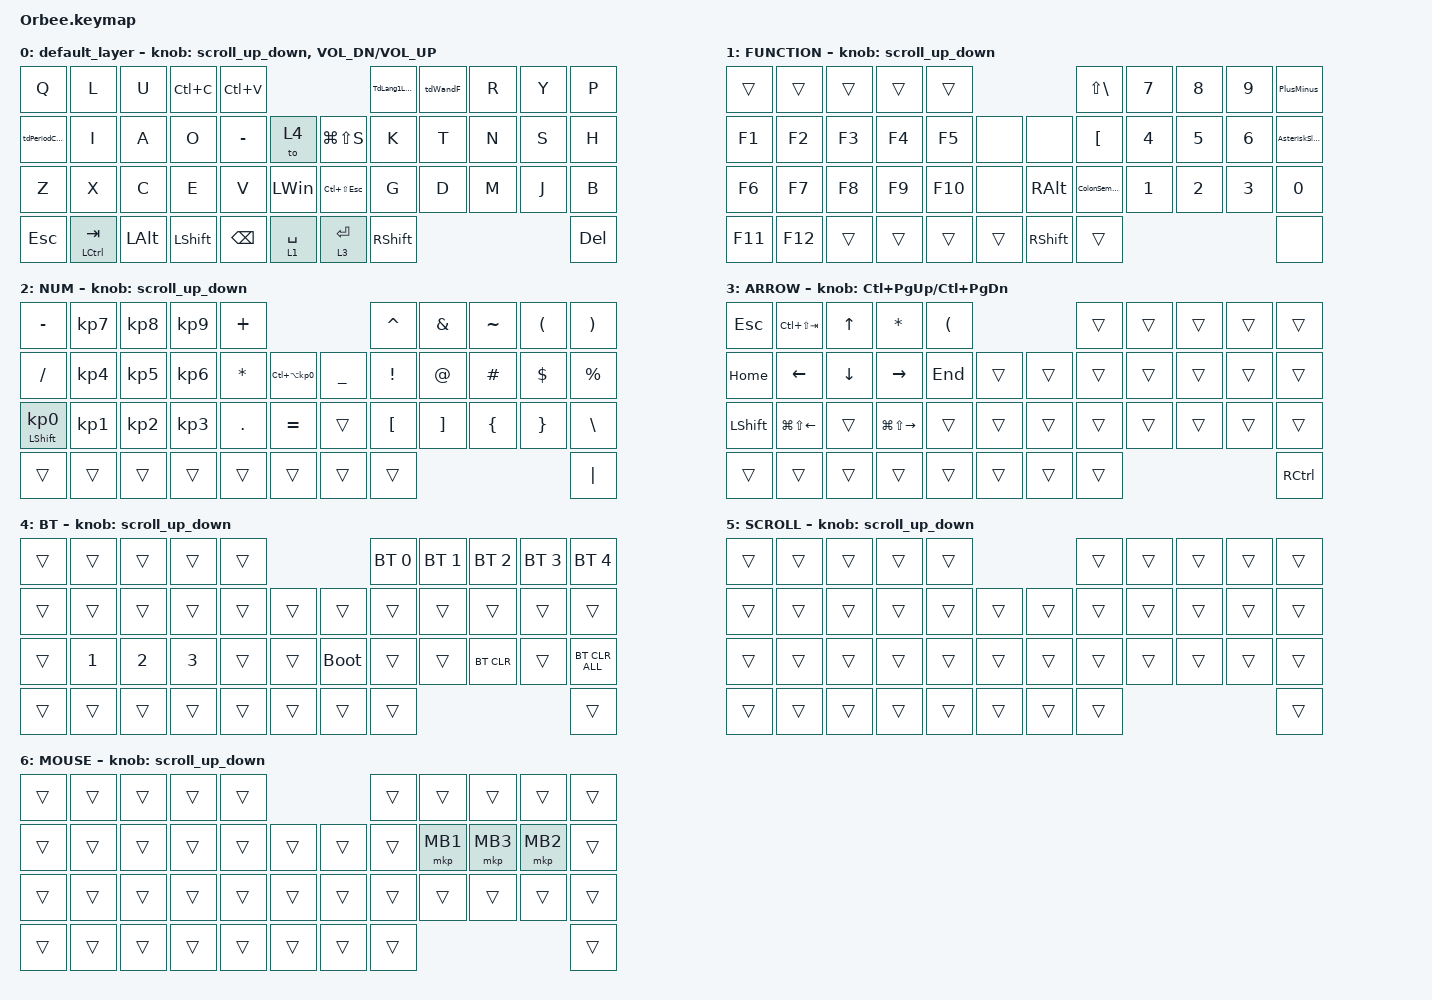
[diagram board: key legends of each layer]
#include <behaviors.dtsi>
#include <dt-bindings/zmk/bt.h>
#include <dt-bindings/zmk/keys.h>
#include <dt-bindings/zmk/pointing.h>

&mt {
    flavor = "balanced";
    quick-tap-ms = <0>;
};

/ {
    combos {
        compatible = "zmk,combos";

        Alt_tab {
            bindings = <&kp LA(TAB)>;
            key-positions = <12 13>;
        };

        Ctrl_Z {
            bindings = <&kp LC(Z)>;
            key-positions = <12 11>;
        };

        Ctrl_P {
            bindings = <&kp LC(P)>;
            key-positions = <14 13>;
        };
    };

    macros {
        to_layer_0: to_layer_0 {
            compatible = "zmk,behavior-macro-one-param";
            #binding-cells = <1>;
            bindings = <&kp LEFT_WIN &macro_param_1to1 &kp MACRO_PLACEHOLDER>;
            label = "TO_LAYER_0";
        };
    };

    behaviors {
        scroll_up_down: behavior_sensor_rotate_mouse_wheel_up_down {
            compatible = "zmk,behavior-sensor-rotate";
            #sensor-binding-cells = <0>;
            bindings = <&msc SCRL_UP>, <&msc SCRL_DOWN>;
            tap-ms = <20>;
        };

        tdPeriodComma: tdPeriodComma {
            compatible = "zmk,behavior-tap-dance";
            label = "TDPERIODCOMMA";
            #binding-cells = <0>;
            bindings = <&kp COMMA>, <&kp PERIOD>;
        };

        tdWandF: tdWandF {
            compatible = "zmk,behavior-tap-dance";
            label = "TDWANDF";
            #binding-cells = <0>;
            bindings = <&kp W>, <&kp F>;
            tapping-term-ms = <150>;
        };

        PlusMinus: PlusMinus {
            compatible = "zmk,behavior-tap-dance";
            label = "PLUSMINUS";
            #binding-cells = <0>;
            bindings = <&kp LS(SEMI)>, <&kp MINUS>;
            tapping-term-ms = <200>;
        };

        AsteriskSlash: AsteriskSlash {
            compatible = "zmk,behavior-tap-dance";
            label = "ASTERISKSLASH";
            #binding-cells = <0>;
            tapping-term-ms = <200>;
            bindings = <&kp LS(SINGLE_QUOTE)>, <&kp SLASH>;
        };

        ColonSemicolon: ColonSemicolon {
            compatible = "zmk,behavior-tap-dance";
            label = "COLONSEMICOLON";
            #binding-cells = <0>;
            tapping-term-ms = <200>;
            bindings = <&kp APOS>, <&kp SEMI>;
        };

        TdLang1Lang2: TdLang1Lang2 {
            compatible = "zmk,behavior-tap-dance";
            label = "TDLANG1LANG2";
            #binding-cells = <0>;
            bindings = <&kp LANGUAGE_1>, <&kp LANG2>;
        };
    };

    keymap {
        compatible = "zmk,keymap";

        default_layer {
            bindings = <
&kp Q           &kp L          &kp U         &kp LC(C)       &kp LC(V)                                            &TdLang1Lang2  &tdWandF  &kp R  &kp Y  &kp P
&tdPeriodComma  &kp I          &kp A         &kp O           &kp MINUS      &to 4             &kp LG(LS(S))       &kp K          &kp T     &kp N  &kp S  &kp H
&kp Z           &kp X          &kp C         &kp E           &kp V          &kp LEFT_WIN      &kp LC(LS(ESCAPE))  &kp G          &kp D     &kp M  &kp J  &kp B
&kp ESC         &mt LCTRL TAB  &kp LEFT_ALT  &kp LEFT_SHIFT  &kp BACKSPACE  &lt 1 SPACE       &lt 3 ENTER         &kp RIGHT_SHIFT                        &kp DEL
            >;

            sensor-bindings =
                <&scroll_up_down>,
                <&inc_dec_kp C_VOL_DN C_VOL_UP>;
        };

        FUNCTION {
            bindings = < 
&trans   &trans   &trans  &trans  &trans                                &kp LS(BACKSLASH)  &kp NUMBER_7  &kp NUMBER_8  &kp N9        &PlusMinus
&kp F1   &kp F2   &kp F3  &kp F4  &kp F5   &none       &none            &kp LEFT_BRACKET   &kp NUMBER_4  &kp NUMBER_5  &kp NUMBER_6  &AsteriskSlash
&kp F6   &kp F7   &kp F8  &kp F9  &kp F10  &none       &kp RIGHT_ALT    &ColonSemicolon    &kp NUMBER_1  &kp NUMBER_2  &kp NUMBER_3  &kp N0
&kp F11  &kp F12  &trans  &trans  &trans   &trans      &kp RIGHT_SHIFT  &trans                                                       &none
            >;

            sensor-bindings = <&scroll_up_down>;
        };

        NUM {
            bindings = < 
&kp MINUS                   &kp KP_NUMBER_7  &kp KP_NUMBER_8  &kp KP_NUMBER_9  &kp PLUS                                                   &kp CARET         &kp AMPERSAND      &kp TILDE       &kp LEFT_PARENTHESIS  &kp RIGHT_PARENTHESIS
&kp SLASH                   &kp KP_NUMBER_4  &kp KP_NUMBER_5  &kp KP_NUMBER_6  &kp ASTERISK  &kp LC(LA(KP_NUMBER_0))      &kp UNDERSCORE  &kp EXCLAMATION   &kp AT_SIGN        &kp HASH        &kp DOLLAR            &kp PERCENT
&mt LEFT_SHIFT KP_NUMBER_0  &kp KP_NUMBER_1  &kp KP_NUMBER_2  &kp KP_NUMBER_3  &kp PERIOD    &kp EQUAL                    &trans          &kp LEFT_BRACKET  &kp RIGHT_BRACKET  &kp LEFT_BRACE  &kp RIGHT_BRACE       &kp BACKSLASH
&trans                      &trans           &trans           &trans           &trans        &trans                       &trans          &trans                                                                     &kp PIPE
            >;

            sensor-bindings = <&scroll_up_down>;
        };

        ARROW {
            bindings = < 
&kp ESCAPE      &kp LC(LS(TAB))         &kp UP_ARROW    &kp ASTERISK             &kp LEFT_PARENTHESIS                      &trans  &trans  &trans  &trans  &trans
&kp HOME        &kp LEFT_ARROW          &kp DOWN_ARROW  &kp RIGHT_ARROW          &kp END               &trans      &trans  &trans  &trans  &trans  &trans  &trans
&kp LEFT_SHIFT  &kp LG(LS(LEFT_ARROW))  &trans          &kp LG(LS(RIGHT_ARROW))  &trans                &trans      &trans  &trans  &trans  &trans  &trans  &trans
&trans          &trans                  &trans          &trans                   &trans                &trans      &trans  &trans                          &kp RCTRL
            >;

            sensor-bindings = <&inc_dec_kp LC(PAGE_UP) LC(PAGE_DOWN)>;
        };

        BT {
            bindings = <
&trans  &trans        &trans        &trans        &trans                           &bt BT_SEL 0  &bt BT_SEL 1  &bt BT_SEL 2  &bt BT_SEL 3  &bt BT_SEL 4
&trans  &trans        &trans        &trans        &trans  &trans      &trans       &trans        &trans        &trans        &trans        &trans
&trans  &kp NUMBER_1  &kp NUMBER_2  &kp NUMBER_3  &trans  &trans      &bootloader  &trans        &trans        &bt BT_CLR    &trans        &bt BT_CLR_ALL
&trans  &trans        &trans        &trans        &trans  &trans      &trans       &trans                                                  &trans
            >;

            sensor-bindings = <&scroll_up_down>;
        };

        SCROLL {
            bindings = < 
&trans  &trans  &trans  &trans  &trans                      &trans  &trans  &trans  &trans  &trans
&trans  &trans  &trans  &trans  &trans  &trans      &trans  &trans  &trans  &trans  &trans  &trans
&trans  &trans  &trans  &trans  &trans  &trans      &trans  &trans  &trans  &trans  &trans  &trans
&trans  &trans  &trans  &trans  &trans  &trans      &trans  &trans                          &trans
            >;

            sensor-bindings = <&scroll_up_down>;
        };

        MOUSE {
            bindings = < 
&trans  &trans  &trans  &trans  &trans                      &trans  &trans    &trans    &trans    &trans
&trans  &trans  &trans  &trans  &trans  &trans      &trans  &trans  &mkp MB1  &mkp MB3  &mkp MB2  &trans
&trans  &trans  &trans  &trans  &trans  &trans      &trans  &trans  &trans    &trans    &trans    &trans
&trans  &trans  &trans  &trans  &trans  &trans      &trans  &trans                                &trans
            >;

            sensor-bindings = <&scroll_up_down>;
        };
    };
};
